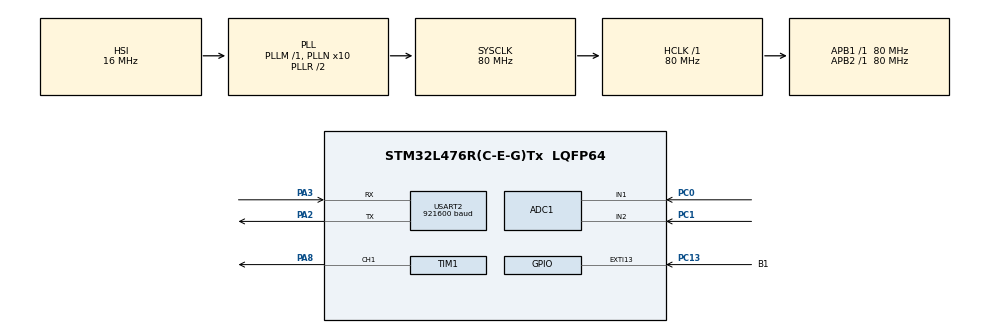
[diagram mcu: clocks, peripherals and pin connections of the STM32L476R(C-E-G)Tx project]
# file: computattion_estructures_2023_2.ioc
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ADC1.Channel-1\#ChannelRegularConversion=ADC_CHANNEL_1
ADC1.Channel-2\#ChannelRegularConversion=ADC_CHANNEL_2
ADC1.ContinuousConvMode=ENABLE
ADC1.EOCSelection=ADC_EOC_SEQ_CONV
ADC1.NbrOfConversion=2
ADC1.NbrOfConversionFlag=1
ADC1.OffsetNumber-1\#ChannelRegularConversion=ADC_OFFSET_NONE
ADC1.OffsetNumber-2\#ChannelRegularConversion=ADC_OFFSET_NONE
ADC1.Rank-1\#ChannelRegularConversion=1
ADC1.Rank-2\#ChannelRegularConversion=2
ADC1.SamplingTime-1\#ChannelRegularConversion=ADC_SAMPLETIME_2CYCLES_5
ADC1.SamplingTime-2\#ChannelRegularConversion=ADC_SAMPLETIME_2CYCLES_5
ADC1.master=1
Dma.ADC1.1.Direction=DMA_PERIPH_TO_MEMORY
Dma.ADC1.1.Instance=DMA1_Channel1
Dma.ADC1.1.MemDataAlignment=DMA_MDATAALIGN_HALFWORD
Dma.ADC1.1.MemInc=DMA_MINC_ENABLE
Dma.ADC1.1.Mode=DMA_NORMAL
Dma.ADC1.1.PeriphDataAlignment=DMA_PDATAALIGN_HALFWORD
Dma.ADC1.1.PeriphInc=DMA_PINC_DISABLE
Dma.ADC1.1.Priority=DMA_PRIORITY_HIGH
Dma.Request0=USART2_TX
Dma.Request1=ADC1
Dma.USART2_TX.0.Direction=DMA_MEMORY_TO_PERIPH
Dma.USART2_TX.0.Instance=DMA1_Channel7
Dma.USART2_TX.0.MemDataAlignment=DMA_MDATAALIGN_BYTE
Dma.USART2_TX.0.MemInc=DMA_MINC_ENABLE
Dma.USART2_TX.0.Mode=DMA_NORMAL
Dma.USART2_TX.0.PeriphDataAlignment=DMA_PDATAALIGN_BYTE
Dma.USART2_TX.0.PeriphInc=DMA_PINC_DISABLE
Dma.USART2_TX.0.Priority=DMA_PRIORITY_MEDIUM
Mcu.Family=STM32L4
Mcu.Name=STM32L476R(C-E-G)Tx
Mcu.Package=LQFP64
NVIC.DMA1_Channel1_IRQn=true\:0\:0\:false\:false\:true\:false\:true\:true
NVIC.DMA1_Channel7_IRQn=true\:0\:0\:false\:false\:true\:false\:true\:true
NVIC.PriorityGroup=NVIC_PRIORITYGROUP_4
NVIC.RTC_Alarm_IRQn=true\:0\:0\:false\:false\:true\:true\:true\:true
NVIC.TIM7_IRQn=true\:0\:0\:false\:false\:true\:true\:true\:true
NVIC.USART2_IRQn=true\:0\:0\:false\:false\:true\:true\:true\:true
PA2.Mode=Asynchronous
PA2.Signal=USART2_TX
PA3.Mode=Asynchronous
PA3.Signal=USART2_RX
PA8.Signal=S_TIM1_CH1
PC0.Signal=ADCx_IN1
PC1.Signal=ADCx_IN2
PC13.GPIO_Label=B1
PC13.Signal=GPXTI13
ProjectManager.HeapSize=0x200
ProjectManager.StackSize=0x400
ProjectManager.TargetToolchain=STM32CubeIDE
RCC.ADCFreq_Value=64000000
RCC.AHBFreq_Value=80000000
RCC.APB1Freq_Value=80000000
RCC.APB1TimFreq_Value=80000000
RCC.APB2Freq_Value=80000000
RCC.APB2TimFreq_Value=80000000
RCC.CortexFreq_Value=80000000
RCC.HCLKFreq_Value=80000000
RCC.HSE_VALUE=8000000
RCC.HSI_VALUE=16000000
RCC.LSE_VALUE=32768
RCC.MSI_VALUE=4000000
RCC.PLLN=10
RCC.PLLSAI2N=16
RCC.PLLSourceVirtual=RCC_PLLSOURCE_HSI
RCC.PREFETCH_ENABLE=1
RCC.SYSCLKFreq_VALUE=80000000
RCC.SYSCLKSource=RCC_SYSCLKSOURCE_PLLCLK
RCC.USBFreq_Value=64000000
RCC.VCOOutputFreq_Value=160000000
RTC.Alarm-Alarm\ A=RTC_ALARM_A
SH.ADCx_IN1.0=ADC1_IN1,IN1-Single-Ended
SH.ADCx_IN2.0=ADC1_IN2,IN2-Single-Ended
SH.S_TIM1_CH1.0=TIM1_CH1,PWM Generation1 CH1
TIM1.Channel-PWM\ Generation1\ CH1=TIM_CHANNEL_1
TIM1.Prescaler=800- 1
TIM7.Period=10000- 1
TIM7.Prescaler=8000- 1
USART2.AutoBaudRateEnableParam=UART_ADVFEATURE_AUTOBAUDRATE_DISABLE
USART2.BaudRate=921600
USART2.VirtualMode-Asynchronous=VM_ASYNC
VP_RTC_VS_RTC_Activate.Mode=RTC_Enabled
VP_RTC_VS_RTC_Alarm_A_Intern.Mode=Alarm A
VP_RTC_VS_RTC_Calendar.Mode=RTC_Calendar
VP_TIM1_VS_ClockSourceINT.Mode=Internal
VP_TIM7_VS_ClockSourceINT.Mode=Enable_Timer
board=NUCLEO-L476RG

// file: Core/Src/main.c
/* USER CODE BEGIN Header */
/**
  **************************
  * @file           : main.c
  * @brief          : Main program body
  **************************
  * @attention
  *
  * Copyright (c) 2023 STMicroelectronics.
  * All rights reserved.
  *
  * This software is licensed under terms that can be found in the LICENSE file
  * in the root directory of this software component.
  * If no LICENSE file comes with this software, it is provided AS-IS.
  *
  **************************
  */
/* USER CODE END Header */
#include "main.h"

/* USER CODE BEGIN Includes */
#include <stdio.h> // <> -> Cuando es libreria estandar || "" -> Cuando es una libreria que yo hice
#include <string.h>

/* USER CODE END Includes */

ADC_HandleTypeDef hadc1;
DMA_HandleTypeDef hdma_adc1;

RTC_HandleTypeDef hrtc;

TIM_HandleTypeDef htim1;
TIM_HandleTypeDef htim7;

UART_HandleTypeDef huart2;
DMA_HandleTypeDef hdma_usart2_tx;

/* USER CODE BEGIN PV */

// Paso 1: Inicializamos un string vacío para almacenar el valor que recibiremos
uint8_t my_str[4] = "";

uint16_t adc_buffer[2];
// Paso 2: Nos dirigimos al archivo de las interrupciones (stm32l4xx_it.c) para hallar el Callback del UART

/* USER CODE END PV */

void SystemClock_Config(void);
static void MX_GPIO_Init(void);
static void MX_DMA_Init(void);
static void MX_USART2_UART_Init(void);
static void MX_TIM7_Init(void);
static void MX_TIM1_Init(void);
static void MX_ADC1_Init(void);
static void MX_RTC_Init(void);

/* USER CODE BEGIN 0 */
int _write(int file, char *ptr, int len)
{
  HAL_UART_Transmit(&huart2, (uint8_t *)ptr, len, 10);
  return len;
}
void HAL_UART_RxCpltCallback(UART_HandleTypeDef *huart)
{

	//HAL_GPIO_WritePin(LD2_GPIO_Port, LD2_Pin, GPIO_PIN_SET);
	//HAL_UART_Transmit(&huart2, my_str, sizeof(my_str), 1);// Ver el mensaje que acabo de recibir
	//HAL_GPIO_WritePin(LD2_GPIO_Port, LD2_Pin, GPIO_PIN_SET);
	printf("Received: [%s]\r\n",my_str);
	HAL_UART_Receive_IT(&huart2, my_str, 1);
}
void HAL_UART_TxCpltCallback(UART_HandleTypeDef *huart)
{
	//my_str = 0;
}
void HAL_TIM_PeriodElapsedCallback(TIM_HandleTypeDef *htim)
{
	static uint32_t   counter =0;
	printf("Counter: %d\r\n", counter++);
}

void RTC_alarm_config(void)
{
	RTC_DateTypeDef date;
	RTC_TimeTypeDef time;
	RTC_AlarmTypeDef alarm;

	date.Year = 0x23;
	date.Month = RTC_MONTH_OCTOBER;
	date.Date = 0x06;
	date.WeekDay = RTC_WEEKDAY_FRIDAY;
	HAL_RTC_SetDate(&hrtc, &date, RTC_FORMAT_BCD);

	time.Hours = 0x19;
	time.Minutes = 0x10;
	time.Seconds = 0x00;
	time.TimeFormat = RTC_HOURFORMAT_24;
	HAL_RTC_SetTime(&hrtc, &time, RTC_FORMAT_BCD);

	alarm.Alarm = RTC_ALARM_A;
	alarm.AlarmTime.Hours = 0x19;
	alarm.AlarmTime.Minutes = 0x10;
	alarm.AlarmTime.Seconds = 0x10;

	alarm.AlarmTime.TimeFormat = RTC_HOURFORMAT_24;
	alarm.AlarmDateWeekDay = RTC_WEEKDAY_FRIDAY;
	alarm.AlarmDateWeekDaySel = RTC_ALARMDATEWEEKDAYSEL_WEEKDAY;
	alarm.AlarmMask = RTC_ALARMMASK_DATEWEEKDAY;

	HAL_RTC_SetAlarm_IT(&hrtc, &alarm, RTC_FORMAT_BCD);
}

void HAL_RTC_AlarmAEventCallback(RTC_HandleTypeDef *hrtc)
{
	printf ("Alarm!!!\r\n");
}
/* USER CODE END 0 */

int main(void)
{

  /* MCU Configuration--------------------------------------------------------*/

  /* Reset of all peripherals, Initializes the Flash interface and the Systick. */
  HAL_Init();

  /* Configure the system clock */
  SystemClock_Config();

  /* Initialize all configured peripherals */
  MX_GPIO_Init();
  MX_DMA_Init();
  MX_USART2_UART_Init();
  MX_TIM7_Init();
  MX_TIM1_Init();
  MX_ADC1_Init();
  MX_RTC_Init();
  /* USER CODE BEGIN 2 */
  HAL_UART_Receive_IT(&huart2, my_str, 1);

  HAL_TIM_Base_Start_IT(&htim7);
  TIM1->CCR1 = 1;
  HAL_TIM_PWM_Start(&htim1, TIM_CHANNEL_1);

  HAL_ADC_Start_DMA(&hadc1, adc_buffer, 2);
  /* USER CODE END 2 */

  /* Infinite loop */
  /* USER CODE BEGIN WHILE */
  RTC_alarm_config();
  while (1)
  {
	  HAL_ADC_Start_DMA(&hadc1,(uint32_t *) adc_buffer, 10);
	  HAL_Delay(1000);
	  uint32_t adc_channel_1 = adc_buffer[0] + adc_buffer[2] + adc_buffer[2]+ adc_buffer[4] + adc_buffer[6] + adc_buffer[8];
	  adc_channel_1 = adc_channel_1 / 5;
	  //printf("initial values: %d, %d\r\n", adc_buffer[0], adc_buffer[1]);

	  //printf("initial values: %d, %d\r\n", adc_buffer[0], adc_buffer[1]);

    /* USER CODE END WHILE */

  }
}

void SystemClock_Config(void)
{
  RCC_OscInitTypeDef RCC_OscInitStruct = {0};
  RCC_ClkInitTypeDef RCC_ClkInitStruct = {0};

  /** Configure the main internal regulator output voltage
  */
  if (HAL_PWREx_ControlVoltageScaling(PWR_REGULATOR_VOLTAGE_SCALE1) != HAL_OK)
  {
    Error_Handler();
  }

  /** Initializes the RCC Oscillators according to the specified parameters
  * in the RCC_OscInitTypeDef structure.
  */
  RCC_OscInitStruct.OscillatorType = RCC_OSCILLATORTYPE_HSI|RCC_OSCILLATORTYPE_LSI;
  RCC_OscInitStruct.HSIState = RCC_HSI_ON;
  RCC_OscInitStruct.HSICalibrationValue = RCC_HSICALIBRATION_DEFAULT;
  RCC_OscInitStruct.LSIState = RCC_LSI_ON;
  RCC_OscInitStruct.PLL.PLLState = RCC_PLL_ON;
  RCC_OscInitStruct.PLL.PLLSource = RCC_PLLSOURCE_HSI;
  RCC_OscInitStruct.PLL.PLLM = 1;
  RCC_OscInitStruct.PLL.PLLN = 10;
  RCC_OscInitStruct.PLL.PLLP = RCC_PLLP_DIV7;
  RCC_OscInitStruct.PLL.PLLQ = RCC_PLLQ_DIV2;
  RCC_OscInitStruct.PLL.PLLR = RCC_PLLR_DIV2;
  if (HAL_RCC_OscConfig(&RCC_OscInitStruct) != HAL_OK)
  {
    Error_Handler();
  }

  /** Initializes the CPU, AHB and APB buses clocks
  */
  RCC_ClkInitStruct.ClockType = RCC_CLOCKTYPE_HCLK|RCC_CLOCKTYPE_SYSCLK
                              |RCC_CLOCKTYPE_PCLK1|RCC_CLOCKTYPE_PCLK2;
  RCC_ClkInitStruct.SYSCLKSource = RCC_SYSCLKSOURCE_PLLCLK;
  RCC_ClkInitStruct.AHBCLKDivider = RCC_SYSCLK_DIV1;
  RCC_ClkInitStruct.APB1CLKDivider = RCC_HCLK_DIV1;
  RCC_ClkInitStruct.APB2CLKDivider = RCC_HCLK_DIV1;

  if (HAL_RCC_ClockConfig(&RCC_ClkInitStruct, FLASH_LATENCY_4) != HAL_OK)
  {
    Error_Handler();
  }
}

static void MX_ADC1_Init(void)
{

  ADC_MultiModeTypeDef multimode = {0};
  ADC_ChannelConfTypeDef sConfig = {0};

  /** Common config
  */
  hadc1.Instance = ADC1;
  hadc1.Init.ClockPrescaler = ADC_CLOCK_ASYNC_DIV1;
  hadc1.Init.Resolution = ADC_RESOLUTION_12B;
  hadc1.Init.DataAlign = ADC_DATAALIGN_RIGHT;
  hadc1.Init.ScanConvMode = ADC_SCAN_ENABLE;
  hadc1.Init.EOCSelection = ADC_EOC_SEQ_CONV;
  hadc1.Init.LowPowerAutoWait = DISABLE;
  hadc1.Init.ContinuousConvMode = ENABLE;
  hadc1.Init.NbrOfConversion = 2;
  hadc1.Init.DiscontinuousConvMode = DISABLE;
  hadc1.Init.ExternalTrigConv = ADC_SOFTWARE_START;
  hadc1.Init.ExternalTrigConvEdge = ADC_EXTERNALTRIGCONVEDGE_NONE;
  hadc1.Init.DMAContinuousRequests = DISABLE;
  hadc1.Init.Overrun = ADC_OVR_DATA_PRESERVED;
  hadc1.Init.OversamplingMode = DISABLE;
  if (HAL_ADC_Init(&hadc1) != HAL_OK)
  {
    Error_Handler();
  }

  /** Configure the ADC multi-mode
  */
  multimode.Mode = ADC_MODE_INDEPENDENT;
  if (HAL_ADCEx_MultiModeConfigChannel(&hadc1, &multimode) != HAL_OK)
  {
    Error_Handler();
  }

  /** Configure Regular Channel
  */
  sConfig.Channel = ADC_CHANNEL_1;
  sConfig.Rank = ADC_REGULAR_RANK_1;
  sConfig.SamplingTime = ADC_SAMPLETIME_2CYCLES_5;
  sConfig.SingleDiff = ADC_SINGLE_ENDED;
  sConfig.OffsetNumber = ADC_OFFSET_NONE;
  sConfig.Offset = 0;
  if (HAL_ADC_ConfigChannel(&hadc1, &sConfig) != HAL_OK)
  {
    Error_Handler();
  }

  /** Configure Regular Channel
  */
  sConfig.Channel = ADC_CHANNEL_2;
  sConfig.Rank = ADC_REGULAR_RANK_2;
  if (HAL_ADC_ConfigChannel(&hadc1, &sConfig) != HAL_OK)
  {
    Error_Handler();
  }

}

static void MX_RTC_Init(void)
{

  RTC_TimeTypeDef sTime = {0};
  RTC_DateTypeDef sDate = {0};
  RTC_AlarmTypeDef sAlarm = {0};

  /** Initialize RTC Only
  */
  hrtc.Instance = RTC;
  hrtc.Init.HourFormat = RTC_HOURFORMAT_24;
  hrtc.Init.AsynchPrediv = 127;
  hrtc.Init.SynchPrediv = 255;
  hrtc.Init.OutPut = RTC_OUTPUT_DISABLE;
  hrtc.Init.OutPutRemap = RTC_OUTPUT_REMAP_NONE;
  hrtc.Init.OutPutPolarity = RTC_OUTPUT_POLARITY_HIGH;
  hrtc.Init.OutPutType = RTC_OUTPUT_TYPE_OPENDRAIN;
  if (HAL_RTC_Init(&hrtc) != HAL_OK)
  {
    Error_Handler();
  }

  /** Initialize RTC and set the Time and Date
  */
  sTime.Hours = 0x0;
  sTime.Minutes = 0x0;
  sTime.Seconds = 0x0;
  sTime.DayLightSaving = RTC_DAYLIGHTSAVING_NONE;
  sTime.StoreOperation = RTC_STOREOPERATION_RESET;
  if (HAL_RTC_SetTime(&hrtc, &sTime, RTC_FORMAT_BCD) != HAL_OK)
  {
    Error_Handler();
  }
  sDate.WeekDay = RTC_WEEKDAY_MONDAY;
  sDate.Month = RTC_MONTH_JANUARY;
  sDate.Date = 0x1;
  sDate.Year = 0x0;

  if (HAL_RTC_SetDate(&hrtc, &sDate, RTC_FORMAT_BCD) != HAL_OK)
  {
    Error_Handler();
  }

  /** Enable the Alarm A
  */
  sAlarm.AlarmTime.Hours = 0x0;
  sAlarm.AlarmTime.Minutes = 0x0;
  sAlarm.AlarmTime.Seconds = 0x0;
  sAlarm.AlarmTime.SubSeconds = 0x0;
  sAlarm.AlarmTime.DayLightSaving = RTC_DAYLIGHTSAVING_NONE;
  sAlarm.AlarmTime.StoreOperation = RTC_STOREOPERATION_RESET;
  sAlarm.AlarmMask = RTC_ALARMMASK_NONE;
  sAlarm.AlarmSubSecondMask = RTC_ALARMSUBSECONDMASK_ALL;
  sAlarm.AlarmDateWeekDaySel = RTC_ALARMDATEWEEKDAYSEL_DATE;
  sAlarm.AlarmDateWeekDay = 0x1;
  sAlarm.Alarm = RTC_ALARM_A;
  if (HAL_RTC_SetAlarm_IT(&hrtc, &sAlarm, RTC_FORMAT_BCD) != HAL_OK)
  {
    Error_Handler();
  }

}

static void MX_TIM1_Init(void)
{

  TIM_ClockConfigTypeDef sClockSourceConfig = {0};
  TIM_MasterConfigTypeDef sMasterConfig = {0};
  TIM_OC_InitTypeDef sConfigOC = {0};
  TIM_BreakDeadTimeConfigTypeDef sBreakDeadTimeConfig = {0};

  htim1.Instance = TIM1;
  htim1.Init.Prescaler = 800- 1;
  htim1.Init.CounterMode = TIM_COUNTERMODE_UP;
  htim1.Init.Period = 65535;
  htim1.Init.ClockDivision = TIM_CLOCKDIVISION_DIV1;
  htim1.Init.RepetitionCounter = 0;
  htim1.Init.AutoReloadPreload = TIM_AUTORELOAD_PRELOAD_DISABLE;
  if (HAL_TIM_Base_Init(&htim1) != HAL_OK)
  {
    Error_Handler();
  }
  sClockSourceConfig.ClockSource = TIM_CLOCKSOURCE_INTERNAL;
  if (HAL_TIM_ConfigClockSource(&htim1, &sClockSourceConfig) != HAL_OK)
  {
    Error_Handler();
  }
  if (HAL_TIM_PWM_Init(&htim1) != HAL_OK)
  {
    Error_Handler();
  }
  sMasterConfig.MasterOutputTrigger = TIM_TRGO_RESET;
  sMasterConfig.MasterOutputTrigger2 = TIM_TRGO2_RESET;
  sMasterConfig.MasterSlaveMode = TIM_MASTERSLAVEMODE_DISABLE;
  if (HAL_TIMEx_MasterConfigSynchronization(&htim1, &sMasterConfig) != HAL_OK)
  {
    Error_Handler();
  }
  sConfigOC.OCMode = TIM_OCMODE_PWM1;
  sConfigOC.Pulse = 0;
  sConfigOC.OCPolarity = TIM_OCPOLARITY_HIGH;
  sConfigOC.OCNPolarity = TIM_OCNPOLARITY_HIGH;
  sConfigOC.OCFastMode = TIM_OCFAST_DISABLE;
  sConfigOC.OCIdleState = TIM_OCIDLESTATE_RESET;
  sConfigOC.OCNIdleState = TIM_OCNIDLESTATE_RESET;
  if (HAL_TIM_PWM_ConfigChannel(&htim1, &sConfigOC, TIM_CHANNEL_1) != HAL_OK)
  {
    Error_Handler();
  }
  sBreakDeadTimeConfig.OffStateRunMode = TIM_OSSR_DISABLE;
  sBreakDeadTimeConfig.OffStateIDLEMode = TIM_OSSI_DISABLE;
  sBreakDeadTimeConfig.LockLevel = TIM_LOCKLEVEL_OFF;
  sBreakDeadTimeConfig.DeadTime = 0;
  sBreakDeadTimeConfig.BreakState = TIM_BREAK_DISABLE;
  sBreakDeadTimeConfig.BreakPolarity = TIM_BREAKPOLARITY_HIGH;
  sBreakDeadTimeConfig.BreakFilter = 0;
  sBreakDeadTimeConfig.Break2State = TIM_BREAK2_DISABLE;
  sBreakDeadTimeConfig.Break2Polarity = TIM_BREAK2POLARITY_HIGH;
  sBreakDeadTimeConfig.Break2Filter = 0;
  sBreakDeadTimeConfig.AutomaticOutput = TIM_AUTOMATICOUTPUT_DISABLE;
  if (HAL_TIMEx_ConfigBreakDeadTime(&htim1, &sBreakDeadTimeConfig) != HAL_OK)
  {
    Error_Handler();
  }
  HAL_TIM_MspPostInit(&htim1);

}

static void MX_TIM7_Init(void)
{

  TIM_MasterConfigTypeDef sMasterConfig = {0};

  htim7.Instance = TIM7;
  htim7.Init.Prescaler = 8000- 1;
  htim7.Init.CounterMode = TIM_COUNTERMODE_UP;
  htim7.Init.Period = 10000- 1;
  htim7.Init.AutoReloadPreload = TIM_AUTORELOAD_PRELOAD_DISABLE;
  if (HAL_TIM_Base_Init(&htim7) != HAL_OK)
  {
    Error_Handler();
  }
  sMasterConfig.MasterOutputTrigger = TIM_TRGO_RESET;
  sMasterConfig.MasterSlaveMode = TIM_MASTERSLAVEMODE_DISABLE;
  if (HAL_TIMEx_MasterConfigSynchronization(&htim7, &sMasterConfig) != HAL_OK)
  {
    Error_Handler();
  }

}

static void MX_USART2_UART_Init(void)
{

  huart2.Instance = USART2;
  huart2.Init.BaudRate = 921600;
  huart2.Init.WordLength = UART_WORDLENGTH_8B;
  huart2.Init.StopBits = UART_STOPBITS_1;
  huart2.Init.Parity = UART_PARITY_NONE;
  huart2.Init.Mode = UART_MODE_TX_RX;
  huart2.Init.HwFlowCtl = UART_HWCONTROL_NONE;
  huart2.Init.OverSampling = UART_OVERSAMPLING_16;
  huart2.Init.OneBitSampling = UART_ONE_BIT_SAMPLE_DISABLE;
  huart2.AdvancedInit.AdvFeatureInit = UART_ADVFEATURE_NO_INIT;
  if (HAL_UART_Init(&huart2) != HAL_OK)
  {
    Error_Handler();
  }

}

static void MX_DMA_Init(void)
{

  /* DMA controller clock enable */
  __HAL_RCC_DMA1_CLK_ENABLE();

  /* DMA interrupt init */
  /* DMA1_Channel1_IRQn interrupt configuration */
  HAL_NVIC_SetPriority(DMA1_Channel1_IRQn, 0, 0);
  HAL_NVIC_EnableIRQ(DMA1_Channel1_IRQn);
  /* DMA1_Channel7_IRQn interrupt configuration */
  HAL_NVIC_SetPriority(DMA1_Channel7_IRQn, 0, 0);
  HAL_NVIC_EnableIRQ(DMA1_Channel7_IRQn);

}

static void MX_GPIO_Init(void)
{
  GPIO_InitTypeDef GPIO_InitStruct = {0};

  /* GPIO Ports Clock Enable */
  __HAL_RCC_GPIOC_CLK_ENABLE();
  __HAL_RCC_GPIOA_CLK_ENABLE();

  /*Configure GPIO pin : B1_Pin */
  GPIO_InitStruct.Pin = B1_Pin;
  GPIO_InitStruct.Mode = GPIO_MODE_IT_RISING;
  GPIO_InitStruct.Pull = GPIO_NOPULL;
  HAL_GPIO_Init(B1_GPIO_Port, &GPIO_InitStruct);

}

void Error_Handler(void)
{
  __disable_irq();
  while (1)
  {
  }
}
